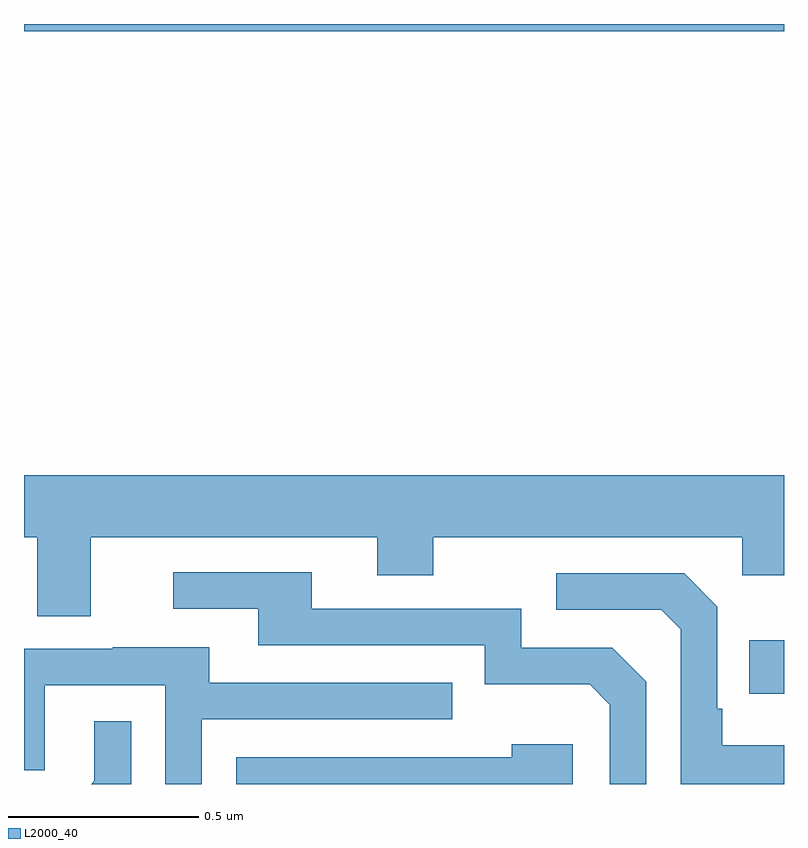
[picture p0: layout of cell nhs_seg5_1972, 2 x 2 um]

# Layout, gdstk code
import gdstk
lib = gdstk.Library(unit=1e-6, precision=1e-09)
def R(c, l, rs):  # rectangles x0, y0, x1, y1
    for r in rs: c.add(gdstk.rectangle(r[:2], r[2:], *l))
def P(c, l, *ps):  # polygons
    for p in ps: c.add(gdstk.Polygon(p, *l))
L2000_40 = (2000, 40)

nhs_seg5_1972 = lib.new_cell('nhs_seg5_1972')
R(nhs_seg5_1972, L2000_40, [(139.909,835.037,140,835.177), (138,836.78,140,836.799)])
P(nhs_seg5_1972, L2000_40, [(138.175,835.448),(138.929,835.448),(138.929,835.349),(139.077,835.349),(139.077,835.448),(139.89,835.448),(139.89,835.349),(140,835.349),(140,835.612),(138,835.612),(138,835.448),(138.035,835.448),(138.035,835.24),(138.175,835.24)],
  [(139.638,835.068),(139.548,835.158),(139.308,835.158),(139.308,835.26),(138.757,835.26),(138.757,835.356),(138.393,835.356),(138.393,835.26),(138.617,835.26),(138.617,835.164),(139.212,835.164),(139.212,835.061),(139.489,835.061),(139.542,835.008),(139.542,834.799),(139.638,834.799)],
  [(140,834.901),(139.837,834.901),(139.837,834.997),(139.824,834.997),(139.824,835.266),(139.737,835.353),(139.401,835.353),(139.401,835.257),(139.677,835.257),(139.728,835.206),(139.728,834.799),(140,834.799)],
  [(138.468,834.969),(139.127,834.969),(139.127,835.065),(138.487,835.065),(138.487,835.159),(138.233,835.159),(138.233,835.155),(138,835.155),(138,834.835),(138.054,834.835),(138.054,835.059),(138.372,835.059),(138.372,834.799),(138.468,834.799)],
  [(138.282,834.964),(138.185,834.964),(138.185,834.807),(138.177,834.799),(138.282,834.799)],
  [(139.444,834.904),(139.283,834.904),(139.283,834.87),(138.558,834.87),(138.558,834.799),(139.444,834.799)])

lib.write_gds('nhs_seg5_1972.gds')
